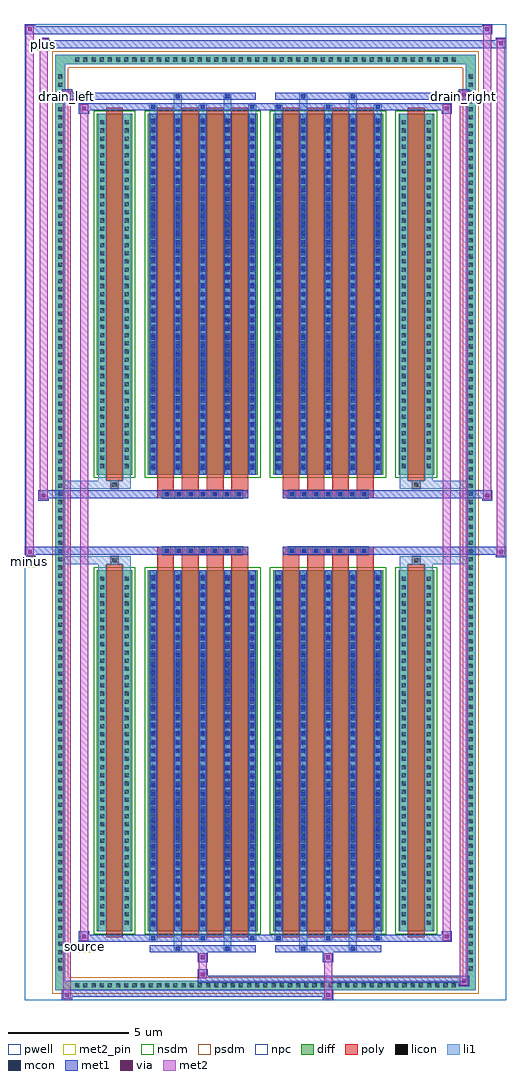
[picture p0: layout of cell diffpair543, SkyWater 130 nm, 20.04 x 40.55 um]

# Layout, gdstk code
import gdstk
lib = gdstk.Library(unit=1e-6, precision=5e-09)
def R(c, l, rs):  # rectangles x0, y0, x1, y1
    for r in rs: c.add(gdstk.rectangle(r[:2], r[2:], *l))
def A(c, l, x, y, w, h, nx, ny, dx, dy):  # array of equal rectangles
    R(c, l, [(x+i*dx, y+j*dy, x+i*dx+w, y+j*dy+h) for i in range(nx) for j in range(ny)])
def P(c, l, *ps):  # polygons
    for p in ps: c.add(gdstk.Polygon(p, *l))
pwell = (64, 44)
diff = (65, 20)
poly = (66, 20)
licon = (66, 44)
li1 = (67, 20)
mcon = (67, 44)
met1 = (68, 20)
via = (68, 44)
met2_pin = (69, 16)
met2 = (69, 20)
nsdm = (93, 44)
psdm = (94, 20)
npc = (95, 20)

diffpair543 = lib.new_cell('diffpair543')
R(diffpair543, pwell, [(-10,-19.84,10,20.71), (-7.32,-18.03,-0.01,-0.805), (0.01,-18.03,7.32,-0.805), (-7.32,0.805,-0.01,18.03), (0.01,0.805,7.32,18.03)])
A(diffpair543, diff, -8.025, -19.44, 0.41, 0.41, 47, 2, 0.34, 38.47)
A(diffpair543, diff, -8.73, -18.735, 0.41, 0.41, 1, 110, 0, 0.34)
A(diffpair543, diff, 8.32, -18.735, 0.41, 0.41, 1, 110, 0, 0.34)
R(diffpair543, diff, [(-8.025,-19.44,8.025,-19.03), (-8.73,-18.735,-8.32,18.735), (8.32,-18.735,8.73,18.735), (-7.01,-16.985,-5.53,-1.985), (-4.89,-16.985,-0.32,-1.985), (0.32,-16.985,4.89,-1.985), (5.53,-16.985,7.01,-1.985), (-7.01,1.985,-5.53,16.985), (-4.89,1.985,-0.32,16.985), (0.32,1.985,4.89,16.985), (5.53,1.985,7.01,16.985), (-8.025,19.03,8.025,19.44)])
P(diffpair543, diff, [(8.73,19.44),(-8.73,19.44),(-8.73,-19.03),(-8.32,-19.03),(-8.32,19.03),(8.32,19.03),(8.32,-19.03),(-8.32,-19.03),(-8.73,-19.03),(-8.73,-19.44),(8.73,-19.44)])
A(diffpair543, poly, -4.5, -17.235, 0.7, 15.5, 4, 2, 1.03, 18.97)
A(diffpair543, poly, 0.71, -17.235, 0.7, 15.5, 4, 2, 1.03, 18.97)
A(diffpair543, poly, -4.5, -1.735, 0.7, 0.4, 4, 2, 1.03, 3.07)
A(diffpair543, poly, 0.71, -1.735, 0.7, 0.4, 4, 2, 1.03, 3.07)
A(diffpair543, poly, -4.27, -1.335, 0.33, 0.33, 7, 2, 0.5, 2.34)
A(diffpair543, poly, 0.94, -1.335, 0.33, 0.33, 7, 2, 0.5, 2.34)
R(diffpair543, poly, [(-6.62,-17.235,-5.92,-1.735), (5.92,-17.235,6.62,-1.735), (-6.435,-1.735,-6.105,-1.405), (-6.435,-1.735,-6.105,-1.405), (6.105,-1.735,6.435,-1.405), (6.105,-1.735,6.435,-1.405), (-4.5,-1.335,-0.71,-1.005), (0.71,-1.335,4.5,-1.005), (-4.5,1.005,-0.71,1.335), (0.71,1.005,4.5,1.335), (-6.435,1.405,-6.105,1.735), (-6.435,1.405,-6.105,1.735), (6.105,1.405,6.435,1.735), (6.105,1.405,6.435,1.735), (-6.62,1.735,-5.92,17.235), (5.92,1.735,6.62,17.235)])
A(diffpair543, licon, -7.905, -19.32, 0.17, 0.17, 47, 2, 0.34, 38.47)
A(diffpair543, licon, -8.61, -18.615, 0.17, 0.17, 1, 110, 0, 0.34)
A(diffpair543, licon, 8.44, -18.615, 0.17, 0.17, 1, 110, 0, 0.34)
A(diffpair543, licon, -6.87, -16.71, 0.17, 0.17, 1, 43, 0, 0.34)
A(diffpair543, licon, -5.84, -16.71, 0.17, 0.17, 1, 43, 0, 0.34)
A(diffpair543, licon, -4.75, -16.71, 0.17, 0.17, 5, 43, 1.03, 0.34)
A(diffpair543, licon, 0.46, -16.71, 0.17, 0.17, 5, 43, 1.03, 0.34)
A(diffpair543, licon, 5.67, -16.71, 0.17, 0.17, 1, 43, 0, 0.34)
A(diffpair543, licon, 6.7, -16.71, 0.17, 0.17, 1, 43, 0, 0.34)
A(diffpair543, licon, -4.19, -1.255, 0.17, 0.17, 7, 2, 0.5, 2.34)
A(diffpair543, licon, 1.02, -1.255, 0.17, 0.17, 7, 2, 0.5, 2.34)
A(diffpair543, licon, -6.87, 2.26, 0.17, 0.17, 1, 43, 0, 0.34)
A(diffpair543, licon, -5.84, 2.26, 0.17, 0.17, 1, 43, 0, 0.34)
A(diffpair543, licon, -4.75, 2.26, 0.17, 0.17, 5, 43, 1.03, 0.34)
A(diffpair543, licon, 0.46, 2.26, 0.17, 0.17, 5, 43, 1.03, 0.34)
A(diffpair543, licon, 5.67, 2.26, 0.17, 0.17, 1, 43, 0, 0.34)
A(diffpair543, licon, 6.7, 2.26, 0.17, 0.17, 1, 43, 0, 0.34)
R(diffpair543, licon, [(-6.355,-1.655,-6.185,-1.485), (6.185,-1.655,6.355,-1.485), (-6.355,1.485,-6.185,1.655), (6.185,1.485,6.355,1.655)])
A(diffpair543, li1, -7.985, -19.4, 0.33, 0.33, 47, 2, 0.34, 38.47)
A(diffpair543, li1, -8.69, -18.695, 0.33, 0.33, 1, 110, 0, 0.34)
A(diffpair543, li1, 8.36, -18.695, 0.33, 0.33, 1, 110, 0, 0.34)
A(diffpair543, li1, -4.83, -17.36, 0.33, 0.375, 3, 2, 2.06, 34.345)
A(diffpair543, li1, -4.75, -17.36, 0.17, 0.17, 3, 2, 2.06, 34.55)
A(diffpair543, li1, 0.38, -17.36, 0.33, 0.375, 3, 2, 2.06, 34.345)
A(diffpair543, li1, 0.46, -17.36, 0.17, 0.17, 3, 2, 2.06, 34.55)
A(diffpair543, li1, -4.83, -16.985, 0.33, 15, 5, 2, 1.03, 18.97)
A(diffpair543, li1, 0.38, -16.985, 0.33, 15, 5, 2, 1.03, 18.97)
A(diffpair543, li1, -6.95, -16.79, 0.33, 0.33, 1, 43, 0, 0.34)
A(diffpair543, li1, -5.92, -16.79, 0.33, 0.33, 1, 43, 0, 0.34)
A(diffpair543, li1, -4.83, -16.79, 0.33, 0.33, 5, 43, 1.03, 0.34)
A(diffpair543, li1, 0.38, -16.79, 0.33, 0.33, 5, 43, 1.03, 0.34)
A(diffpair543, li1, 5.59, -16.79, 0.33, 0.33, 1, 43, 0, 0.34)
A(diffpair543, li1, 6.62, -16.79, 0.33, 0.33, 1, 43, 0, 0.34)
A(diffpair543, li1, -4.75, -16.77, 0.17, 0.17, 5, 41, 1.03, 0.36)
A(diffpair543, li1, -4.75, -16.77, 0.17, 14.57, 5, 2, 1.03, 18.97)
A(diffpair543, li1, 0.46, -16.77, 0.17, 0.17, 5, 41, 1.03, 0.36)
A(diffpair543, li1, 0.46, -16.77, 0.17, 14.57, 5, 2, 1.03, 18.97)
A(diffpair543, li1, -4.27, -1.335, 0.33, 0.33, 7, 2, 0.5, 2.34)
A(diffpair543, li1, 0.94, -1.335, 0.33, 0.33, 7, 2, 0.5, 2.34)
A(diffpair543, li1, -6.95, 2.18, 0.33, 0.33, 1, 43, 0, 0.34)
A(diffpair543, li1, -5.92, 2.18, 0.33, 0.33, 1, 43, 0, 0.34)
A(diffpair543, li1, -4.83, 2.18, 0.33, 0.33, 5, 43, 1.03, 0.34)
A(diffpair543, li1, 0.38, 2.18, 0.33, 0.33, 5, 43, 1.03, 0.34)
A(diffpair543, li1, 5.59, 2.18, 0.33, 0.33, 1, 43, 0, 0.34)
A(diffpair543, li1, 6.62, 2.18, 0.33, 0.33, 1, 43, 0, 0.34)
A(diffpair543, li1, -4.75, 2.2, 0.17, 0.17, 5, 41, 1.03, 0.36)
A(diffpair543, li1, 0.46, 2.2, 0.17, 0.17, 5, 41, 1.03, 0.36)
R(diffpair543, li1, [(-8.73,-19.44,-8.32,-19.03), (-8.73,-19.44,-8.32,-19.03), (-8.32,-19.44,8.32,-19.03), (8.32,-19.44,8.73,-19.03), (8.32,-19.44,8.73,-19.03), (-8.73,-19.03,-8.32,19.03), (8.32,-19.03,8.73,19.03), (-3.8,-17.79,-3.47,-16.985), (-3.72,-17.79,-3.55,-17.62), (-1.74,-17.79,-1.41,-16.985), (-1.66,-17.79,-1.49,-17.62), (1.41,-17.79,1.74,-16.985), (1.49,-17.79,1.66,-17.62), (3.47,-17.79,3.8,-16.985), (3.55,-17.79,3.72,-17.62), (-6.95,-16.985,-6.62,-1.985), (-5.92,-16.985,-5.59,-1.985), (5.59,-16.985,5.92,-1.985), (6.62,-16.985,6.95,-1.985), (-6.95,-1.985,-6.62,-1.405), (-5.92,-1.985,-5.59,-1.405), (5.59,-1.985,5.92,-1.405), (6.62,-1.985,6.95,-1.405), (-8.73,-1.735,-6.435,-1.405), (-6.95,-1.735,-6.435,-1.405), (-6.435,-1.735,-6.105,-1.405), (-6.105,-1.735,-5.59,-1.405), (5.59,-1.735,6.105,-1.405), (6.105,-1.735,6.435,-1.405), (6.105,-1.735,8.73,-1.405), (6.435,-1.735,6.95,-1.405), (-8.73,1.405,-6.435,1.735), (-6.95,1.405,-6.435,1.735), (-6.95,1.405,-6.62,1.985), (-6.435,1.405,-6.105,1.735), (-6.105,1.405,-5.59,1.735), (-5.92,1.405,-5.59,1.985), (5.59,1.405,6.105,1.735), (5.59,1.405,5.92,1.985), (6.105,1.405,6.435,1.735), (6.105,1.405,8.73,1.735), (6.435,1.405,6.95,1.735), (6.62,1.405,6.95,1.985), (-6.95,1.985,-6.62,16.985), (-5.92,1.985,-5.59,16.985), (5.59,1.985,5.92,16.985), (6.62,1.985,6.95,16.985), (-3.8,16.985,-3.47,17.79), (-1.74,16.985,-1.41,17.79), (1.41,16.985,1.74,17.79), (3.47,16.985,3.8,17.79), (-3.72,17.62,-3.55,17.79), (-1.66,17.62,-1.49,17.79), (1.49,17.62,1.66,17.79), (3.55,17.62,3.72,17.79), (-8.73,19.03,-8.32,19.44), (-8.73,19.03,-8.32,19.44), (-8.32,19.03,8.32,19.44), (8.32,19.03,8.73,19.44), (8.32,19.03,8.73,19.44)])
A(diffpair543, mcon, -4.75, -17.36, 0.17, 0.17, 3, 2, 2.06, 34.55)
A(diffpair543, mcon, 0.46, -17.36, 0.17, 0.17, 3, 2, 2.06, 34.55)
A(diffpair543, mcon, -4.75, -16.77, 0.17, 0.17, 5, 41, 1.03, 0.36)
A(diffpair543, mcon, 0.46, -16.77, 0.17, 0.17, 5, 41, 1.03, 0.36)
A(diffpair543, mcon, -4.19, -1.255, 0.17, 0.17, 7, 2, 0.5, 2.34)
A(diffpair543, mcon, 1.02, -1.255, 0.17, 0.17, 7, 2, 0.5, 2.34)
A(diffpair543, mcon, -4.75, 2.2, 0.17, 0.17, 5, 41, 1.03, 0.36)
A(diffpair543, mcon, 0.46, 2.2, 0.17, 0.17, 5, 41, 1.03, 0.36)
R(diffpair543, mcon, [(-3.72,-17.79,-3.55,-17.62), (-1.66,-17.79,-1.49,-17.62), (1.49,-17.79,1.66,-17.62), (3.55,-17.79,3.72,-17.62), (-3.72,17.62,-3.55,17.79), (-1.66,17.62,-1.49,17.79), (1.49,17.62,1.66,17.79), (3.55,17.62,3.72,17.79)])
A(diffpair543, met1, -4.81, -17.42, 0.29, 0.29, 3, 2, 2.06, 34.55)
A(diffpair543, met1, 0.4, -17.42, 0.29, 0.29, 3, 2, 2.06, 34.55)
A(diffpair543, met1, -4.81, -16.985, 0.29, 15, 5, 2, 1.03, 18.97)
A(diffpair543, met1, 0.4, -16.985, 0.29, 15, 5, 2, 1.03, 18.97)
A(diffpair543, met1, -4.81, -16.83, 0.29, 0.29, 5, 41, 1.03, 0.36)
A(diffpair543, met1, 0.4, -16.83, 0.29, 0.29, 5, 41, 1.03, 0.36)
A(diffpair543, met1, -4.25, -1.315, 0.29, 0.29, 7, 2, 0.5, 2.34)
A(diffpair543, met1, 0.96, -1.315, 0.29, 0.29, 7, 2, 0.5, 2.34)
A(diffpair543, met1, -4.81, 2.14, 0.29, 0.29, 5, 41, 1.03, 0.36)
A(diffpair543, met1, 0.4, 2.14, 0.29, 0.29, 5, 41, 1.03, 0.36)
R(diffpair543, met1, [(-8.46,-19.84,-8.03,-19.41), (2.39,-19.84,2.82,-19.41), (-8.46,-19.7,2.82,-19.41), (8.03,-19.27,8.46,-18.84), (-2.82,-19.13,8.46,-18.84), (-2.82,-18.99,-2.39,-18.56), (-2.82,-18.28,-2.39,-17.85), (2.39,-18.28,2.82,-17.85), (-4.81,-17.85,-0.4,-17.56), (-3.78,-17.85,-3.49,-17.56), (-1.72,-17.85,-1.43,-17.56), (0.4,-17.85,4.81,-17.56), (1.43,-17.85,1.72,-17.56), (3.49,-17.85,3.78,-17.56), (-7.75,-17.42,-7.32,-16.99), (-7.75,-17.42,-4.81,-17.13), (-4.81,-17.42,-0.4,-17.13), (-0.4,-17.42,0.4,-17.13), (0.4,-17.42,4.81,-17.13), (4.81,-17.42,7.75,-17.13), (7.32,-17.42,7.75,-16.99), (-10,-1.435,-9.57,-1.005), (9.57,-1.435,10,-1.005), (-10,-1.335,-0.71,-1.005), (-4.5,-1.335,-0.71,-1.005), (0.71,-1.335,4.5,-1.005), (0.71,-1.335,10,-1.005), (-9.43,0.905,-9,1.335), (9,0.905,9.43,1.335), (-9.43,1.005,-4.5,1.335), (-4.5,1.005,-0.71,1.335), (0.71,1.005,4.5,1.335), (4.5,1.005,9.43,1.335), (-7.75,16.99,-7.32,17.42), (7.32,16.99,7.75,17.42), (-7.75,17.13,-4.81,17.42), (-4.81,17.13,-0.4,17.42), (-0.4,17.13,0.4,17.42), (0.4,17.13,4.81,17.42), (4.81,17.13,7.75,17.42), (-8.46,17.56,-8.03,17.99), (-8.46,17.56,-4.81,17.85), (-4.81,17.56,-0.4,17.85), (-3.78,17.56,-3.49,17.85), (-1.72,17.56,-1.43,17.85), (0.4,17.56,4.81,17.85), (1.43,17.56,1.72,17.85), (3.49,17.56,3.78,17.85), (4.81,17.56,8.46,17.85), (8.03,17.56,8.46,17.99), (-9.43,19.71,-9,20.14), (-9.43,19.71,-7.32,20.04), (-7.32,19.71,7.32,20.04), (7.32,19.71,10,20.04), (9.57,19.71,10,20.14), (-10,20.28,-9.57,20.71), (-10,20.28,-7.32,20.61), (-7.32,20.28,7.32,20.61), (7.32,20.28,9.43,20.61), (9,20.28,9.43,20.71)])
R(diffpair543, via, [(-8.32,-19.7,-8.17,-19.55), (2.53,-19.7,2.68,-19.55), (8.17,-19.13,8.32,-18.98), (-2.68,-18.85,-2.53,-18.7), (-2.68,-18.14,-2.53,-17.99), (2.53,-18.14,2.68,-17.99), (-7.61,-17.28,-7.46,-17.13), (7.46,-17.28,7.61,-17.13), (-9.86,-1.295,-9.71,-1.145), (9.71,-1.295,9.86,-1.145), (-9.29,1.045,-9.14,1.195), (9.14,1.045,9.29,1.195), (-7.61,17.13,-7.46,17.28), (7.46,17.13,7.61,17.28), (-8.32,17.7,-8.17,17.85), (8.17,17.7,8.32,17.85), (-9.29,19.85,-9.14,20), (9.71,19.85,9.86,20), (-9.86,20.42,-9.71,20.57), (9.14,20.42,9.29,20.57)])
R(diffpair543, met2_pin, [(-7.785,-17.87,-7.285,-17.37), (-10.035,-1.885,-9.535,-1.385), (-8.495,17.44,-7.995,17.94), (7.995,17.44,8.495,17.94), (-9.465,19.59,-8.965,20.09)])
R(diffpair543, met2, [(-8.41,-19.79,-8.08,-19.46), (-8.41,-19.79,-8.08,17.94), (2.44,-19.79,2.77,-19.46), (2.44,-19.46,2.77,-18.23), (8.08,-19.22,8.41,-18.89), (8.08,-19.22,8.41,17.94), (-2.77,-18.94,-2.44,-18.61), (-2.77,-18.61,-2.44,-18.23), (-2.77,-18.23,-2.44,-17.9), (2.44,-18.23,2.77,-17.9), (-7.7,-17.37,-7.37,-17.04), (-7.7,-17.37,-7.37,17.37), (7.37,-17.37,7.7,-17.04), (7.37,-17.37,7.7,17.37), (-9.95,-1.385,-9.62,-1.055), (-9.95,-1.385,-9.62,20.66), (9.62,-1.385,9.95,-1.055), (9.62,-1.385,9.95,20.09), (-9.38,0.955,-9.05,1.285), (-9.38,0.955,-9.05,20.09), (9.05,0.955,9.38,1.285), (9.05,0.955,9.38,20.66), (-7.7,17.04,-7.37,17.37), (7.37,17.04,7.7,17.37), (-8.41,17.61,-8.08,17.94), (8.08,17.61,8.41,17.94), (-9.38,19.76,-9.05,20.09), (9.62,19.76,9.95,20.09), (-9.95,20.33,-9.62,20.66), (9.05,20.33,9.38,20.66)])
P(diffpair543, met2, [(9.95,-1.385),(9.95,-1.385),(9.95,-1.055),(9.95,-1.055)],
  [(9.95,19.76),(9.95,19.76),(9.95,20.09),(9.95,20.09)],
  [(-9.62,-1.385),(-9.62,-1.385),(-9.62,-1.055),(-9.62,-1.055)],
  [(-9.62,20.33),(-9.62,20.33),(-9.62,20.66),(-9.62,20.66)],
  [(9.38,0.955),(9.38,0.955),(9.38,1.285),(9.38,1.285)],
  [(9.38,20.33),(9.38,20.33),(9.38,20.66),(9.38,20.66)],
  [(-9.05,0.955),(-9.05,0.955),(-9.05,1.285),(-9.05,1.285)],
  [(-9.05,19.76),(-9.05,19.76),(-9.05,20.09),(-9.05,20.09)],
  [(-8.08,-19.79),(-8.08,-19.79),(-8.08,-19.46),(-8.08,-19.46)],
  [(-8.08,17.61),(-8.08,17.61),(-8.08,17.94),(-8.08,17.94)],
  [(8.41,-19.22),(8.41,-19.22),(8.41,-18.89),(8.41,-18.89)],
  [(8.41,17.61),(8.41,17.61),(8.41,17.94),(8.41,17.94)],
  [(-7.37,-17.37),(-7.37,-17.37),(-7.37,-17.04),(-7.37,-17.04)],
  [(-7.37,17.04),(-7.37,17.04),(-7.37,17.37),(-7.37,17.37)],
  [(7.7,-17.37),(7.7,-17.37),(7.7,-17.04),(7.7,-17.04)],
  [(7.7,17.04),(7.7,17.04),(7.7,17.37),(7.7,17.37)])
R(diffpair543, nsdm, [(-7.14,-17.115,-5.4,-1.855), (-5.02,-17.115,-0.19,-1.855), (0.19,-17.115,5.02,-1.855), (5.4,-17.115,7.14,-1.855), (-7.14,1.855,-5.4,17.115), (-5.02,1.855,-0.19,17.115), (0.19,1.855,5.02,17.115), (5.4,1.855,7.14,17.115)])
P(diffpair543, psdm, [(8.86,19.57),(-8.86,19.57),(-8.86,-18.9),(-8.19,-18.9),(-8.19,18.9),(8.19,18.9),(8.19,-18.9),(-8.19,-18.9),(-8.86,-18.9),(-8.86,-19.57),(8.86,-19.57)])
A(diffpair543, npc, -4.29, -1.355, 0.37, 0.37, 7, 2, 0.5, 2.34)
A(diffpair543, npc, 0.92, -1.355, 0.37, 0.37, 7, 2, 0.5, 2.34)
R(diffpair543, npc, [(-6.455,-1.755,-6.085,-1.385), (6.085,-1.755,6.455,-1.385), (-4.29,-1.355,-3.42,-0.985), (-4.29,-1.355,-3.42,-0.985), (-3.79,-1.355,-2.92,-0.985), (-3.79,-1.355,-2.92,-0.985), (-3.29,-1.355,-2.42,-0.985), (-3.29,-1.355,-2.42,-0.985), (-2.79,-1.355,-1.92,-0.985), (-2.79,-1.355,-1.92,-0.985), (-2.29,-1.355,-1.42,-0.985), (-2.29,-1.355,-1.42,-0.985), (-1.79,-1.355,-0.92,-0.985), (-1.79,-1.355,-0.92,-0.985), (0.92,-1.355,1.79,-0.985), (0.92,-1.355,1.79,-0.985), (1.42,-1.355,2.29,-0.985), (1.42,-1.355,2.29,-0.985), (1.92,-1.355,2.79,-0.985), (1.92,-1.355,2.79,-0.985), (2.42,-1.355,3.29,-0.985), (2.42,-1.355,3.29,-0.985), (2.92,-1.355,3.79,-0.985), (2.92,-1.355,3.79,-0.985), (3.42,-1.355,4.29,-0.985), (3.42,-1.355,4.29,-0.985), (-4.29,0.985,-3.42,1.355), (-4.29,0.985,-3.42,1.355), (-3.79,0.985,-2.92,1.355), (-3.79,0.985,-2.92,1.355), (-3.29,0.985,-2.42,1.355), (-3.29,0.985,-2.42,1.355), (-2.79,0.985,-1.92,1.355), (-2.79,0.985,-1.92,1.355), (-2.29,0.985,-1.42,1.355), (-2.29,0.985,-1.42,1.355), (-1.79,0.985,-0.92,1.355), (-1.79,0.985,-0.92,1.355), (0.92,0.985,1.79,1.355), (0.92,0.985,1.79,1.355), (1.42,0.985,2.29,1.355), (1.42,0.985,2.29,1.355), (1.92,0.985,2.79,1.355), (1.92,0.985,2.79,1.355), (2.42,0.985,3.29,1.355), (2.42,0.985,3.29,1.355), (2.92,0.985,3.79,1.355), (2.92,0.985,3.79,1.355), (3.42,0.985,4.29,1.355), (3.42,0.985,4.29,1.355), (-6.455,1.385,-6.085,1.755), (6.085,1.385,6.455,1.755)])
diffpair543.add(gdstk.Label('minus', (-9.785,-1.635), layer=69, texttype=5))
diffpair543.add(gdstk.Label('drain_right', (8.245,17.69), layer=69, texttype=5))
diffpair543.add(gdstk.Label('drain_left', (-8.245,17.69), layer=69, texttype=5))
diffpair543.add(gdstk.Label('source', (-7.535,-17.62), layer=69, texttype=5))
diffpair543.add(gdstk.Label('plus', (-9.215,19.84), layer=69, texttype=5))

lib.write_gds('diffpair543.gds')
